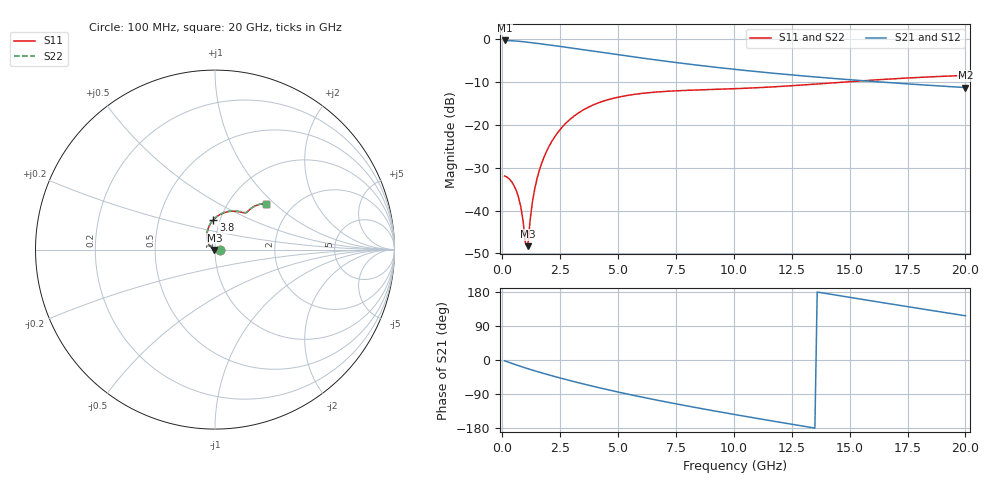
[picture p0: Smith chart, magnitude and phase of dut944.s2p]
! Touchstone file exported from HFSS 2024.1.0
!  File:  C:/UserFiles/LocalFiles/RDL_TSV_Batchsim/temp_RDL_TSV_944_1779963858.aedt
!  Generated:  06:38:05 PM May 28, 2026
!  Design:  RDL_TSV
!  Project:  temp_RDL_TSV_944_1779963858
!  Setup:  Setup1
!  Solution:  Sweep
! Variables:
!  dtsv = 11.71um
!  hbump = 3um
!  htsv = 98.53um
!  ldown = 422.1um
!  lrdl = 458.61um
!  p = 40
!  p1 = 44.86um
!  rhole = 10um
!  subl = 3100.74um
!  t = 450um
!  tdown = 2.03um
!  trdl = 2.88um
!  viad = 10um
!  wdown = 29.14um
!  wrdl = 12.53um
!  xbump = 18um
# GHz S MA R 50.000000
! Terminal data exported
! Port[1] = TM1_1_T1
! Port[2] = TM1_4_T1
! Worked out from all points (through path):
!   200 points, 100 MHz to 20 GHz, reference 50 ohm
!   highest |S21| = -0.23 dB at 100 MHz (marker M1); lowest = -11.2 dB at 20 GHz (marker M2)
!   group delay of S21, straight-line fit = 31.9 ps
!   lowest |S11| = -48.3 dB at 1.1 GHz (marker M3), VSWR 1.01, Z = 49.7 - j0.205 ohm
!   |S11| at or under -10 dB: start of sweep to 14.64 GHz
!   |S22| runs from -48.2 to -8.3 dB; largest |S21 - S12| = 9.5e-15
!   S11 on the Smith chart (normalised r, x): 100 MHz: 1.05, -0.00; 3.8 GHz: 0.93, +0.32; 20 GHz: 1.48, +0.88
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0.1  0.0253 -3.4  0.974 -2.2  0.974 -2.2  0.0253 -3.4
! Gamma 0 0 0 0
! Port Impedance 50 0 50 0
0.4  0.0218 -14.0  0.9671 -8.7  0.9671 -8.7  0.02177 -14.0
0.7  0.0143 -27.5  0.9534 -15.0  0.9534 -15.0  0.01421 -27.5
0.8  0.01101 -34.4  0.9477 -17.0  0.9477 -17.0  0.0109 -34.5
0.9  0.007467 -46.0  0.9417 -19.0  0.9417 -19.0  0.007326 -46.2
1  0.004127 -75.0  0.9353 -21.0  0.9353 -21.0  0.003994 -76.7
1.1  0.003827 -147.4  0.9287 -22.9  0.9287 -22.9  0.003906 -150.3
1.2  0.007625 176.8  0.9219 -24.8  0.9219 -24.8  0.007825 175.7
1.3  0.01252 163.8  0.915 -26.7  0.915 -26.7  0.01278 163.2
1.4  0.01787 156.5  0.908 -28.5  0.908 -28.5  0.01818 156.1
1.6  0.02947 147.0  0.8937 -32.2  0.8937 -32.2  0.02986 146.8
1.8  0.04194 139.9  0.8793 -35.7  0.8793 -35.7  0.04242 139.7
2.5  0.08861 120.3  0.8292 -47.5  0.8292 -47.5  0.08939 120.3
3.5  0.1502 98.7  0.7598 -63.2  0.7598 -63.2  0.1514 98.7
3.8  0.1656 93.3  0.7397 -67.7  0.7397 -67.7  0.1669 93.3
5.3  0.2192 72.8  0.6467 -88.5  0.6467 -88.5  0.221 72.8
6.8  0.2445 60.5  0.5688 -107.4  0.5688 -107.4  0.2465 60.5
8.4  0.2567 53.4  0.5017 -126.0  0.5017 -126.0  0.2588 53.3
10.1  0.2661 50.2  0.4454 -144.6  0.4454 -144.6  0.2682 50.2
13.4  0.2991 49.0  0.3668 -178.7  0.3668 -178.7  0.3011 49.0
16.7  0.3444 46.3  0.3131 148.6  0.3131 148.6  0.3465 46.3
20  0.3801 42.0  0.2741 116.8  0.2741 116.8  0.3825 42.1
